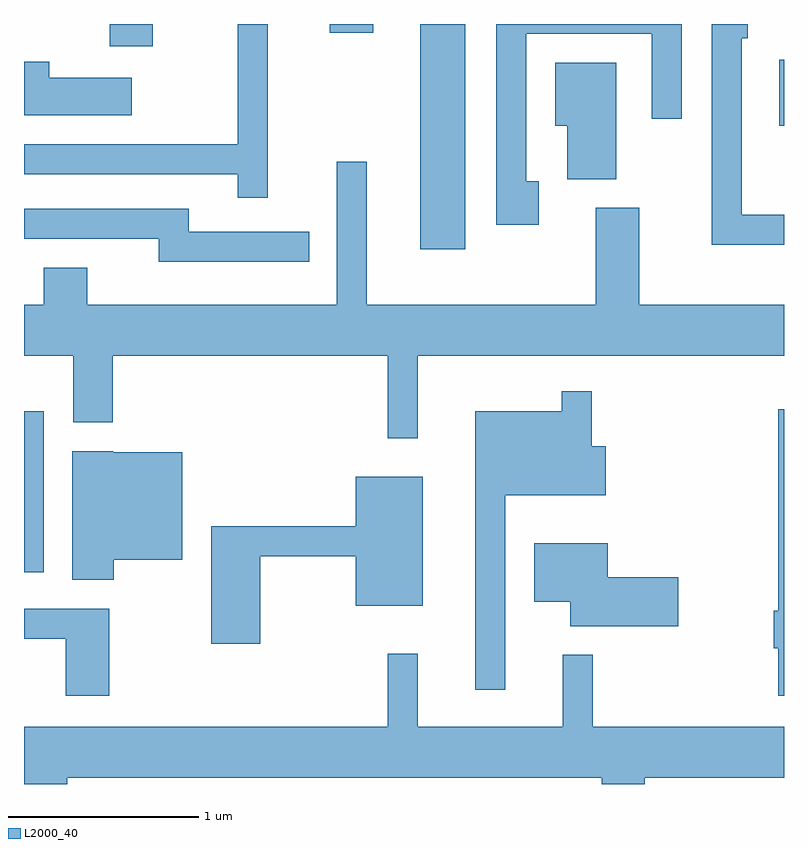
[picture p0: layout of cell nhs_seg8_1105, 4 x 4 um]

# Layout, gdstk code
import gdstk
lib = gdstk.Library(unit=1e-6, precision=1e-09)
def R(c, l, rs):  # rectangles x0, y0, x1, y1
    for r in rs: c.add(gdstk.rectangle(r[:2], r[2:], *l))
def P(c, l, *ps):  # polygons
    for p in ps: c.add(gdstk.Polygon(p, *l))
L2000_40 = (2000, 40)

nhs_seg8_1105 = lib.new_cell('nhs_seg8_1105')
R(nhs_seg8_1105, L2000_40, [(217.611,1877.456,217.714,1878.304), (219.696,1879.156,219.934,1880.342), (221.586,1879.806,221.611,1880.154), (218.061,1880.226,218.289,1880.342), (219.221,1880.296,219.449,1880.342)])
P(nhs_seg8_1105, L2000_40, [(218.894,1880.342),(218.736,1880.342),(218.736,1879.709),(217.611,1879.709),(217.611,1879.551),(218.736,1879.551),(218.736,1879.428),(218.894,1879.428)],
  [(220.319,1879.514),(220.254,1879.514),(220.254,1880.291),(220.916,1880.291),(220.916,1879.843),(221.074,1879.843),(221.074,1880.342),(220.096,1880.342),(220.096,1879.286),(220.319,1879.286)],
  [(221.611,1879.339),(221.389,1879.339),(221.389,1880.266),(221.419,1880.266),(221.419,1880.342),(221.231,1880.342),(221.231,1879.181),(221.611,1879.181)],
  [(218.179,1880.059),(217.744,1880.059),(217.744,1880.144),(217.611,1880.144),(217.611,1879.861),(218.179,1879.861)],
  [(220.729,1880.139),(220.406,1880.139),(220.406,1879.806),(220.471,1879.806),(220.471,1879.526),(220.729,1879.526)],
  [(219.684,1878.596),(221.611,1878.596),(221.611,1878.864),(220.849,1878.864),(220.849,1879.374),(220.621,1879.374),(220.621,1878.864),(219.414,1878.864),(219.414,1879.618),(219.256,1879.618),(219.256,1878.864),(217.944,1878.864),(217.944,1879.059),(217.716,1879.059),(217.716,1878.864),(217.611,1878.864),(217.611,1878.596),(217.871,1878.596),(217.871,1878.246),(218.079,1878.246),(218.079,1878.596),(219.526,1878.596),(219.526,1878.163),(219.684,1878.163)],
  [(219.113,1879.249),(218.479,1879.249),(218.479,1879.369),(217.611,1879.369),(217.611,1879.211),(218.321,1879.211),(218.321,1879.091),(219.113,1879.091)],
  [(220.144,1877.861),(220.674,1877.861),(220.674,1878.119),(220.599,1878.119),(220.599,1878.408),(220.441,1878.408),(220.441,1878.304),(219.986,1878.304),(219.986,1876.838),(220.144,1876.838)],
  [(221.611,1878.314),(221.581,1878.314),(221.581,1877.254),(221.556,1877.254),(221.556,1877.056),(221.581,1877.056),(221.581,1876.806),(221.611,1876.806)],
  [(218.084,1877.521),(218.444,1877.521),(218.444,1878.089),(218.08,1878.089),(218.08,1878.094),(217.866,1878.094),(217.866,1877.416),(218.084,1877.416)],
  [(218.854,1877.541),(219.356,1877.541),(219.356,1877.281),(219.709,1877.281),(219.709,1877.959),(219.356,1877.959),(219.356,1877.699),(218.596,1877.699),(218.596,1877.081),(218.854,1877.081)],
  [(221.054,1877.429),(220.684,1877.429),(220.684,1877.609),(220.296,1877.609),(220.296,1877.301),(220.486,1877.301),(220.486,1877.171),(221.054,1877.171)],
  [(218.059,1877.264),(217.611,1877.264),(217.611,1877.106),(217.831,1877.106),(217.831,1876.806),(218.059,1876.806)],
  [(217.839,1876.376),(220.651,1876.376),(220.651,1876.342),(220.879,1876.342),(220.879,1876.376),(221.611,1876.376),(221.611,1876.644),(220.604,1876.644),(220.604,1877.023),(220.446,1877.023),(220.446,1876.644),(219.684,1876.644),(219.684,1877.028),(219.526,1877.028),(219.526,1876.644),(217.611,1876.644),(217.611,1876.342),(217.839,1876.342)])

lib.write_gds('nhs_seg8_1105.gds')
